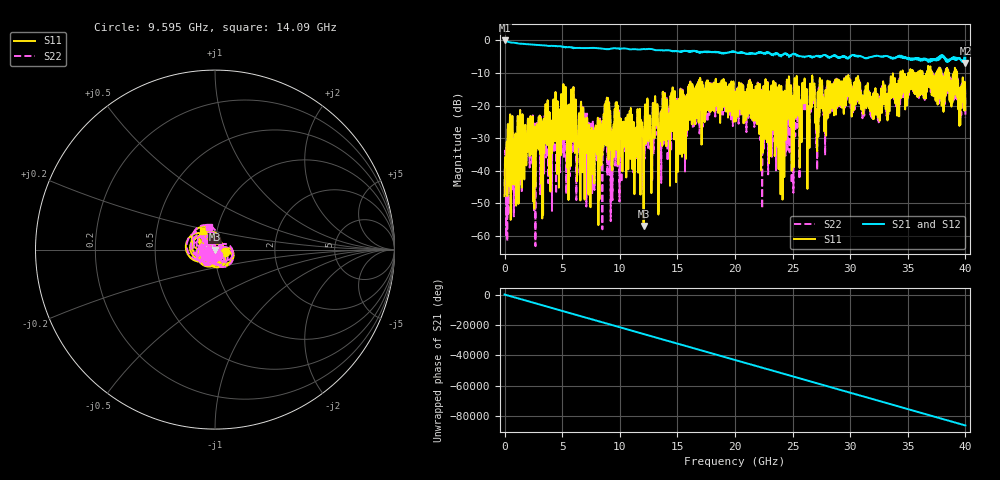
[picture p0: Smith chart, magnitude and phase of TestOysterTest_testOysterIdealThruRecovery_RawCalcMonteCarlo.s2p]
# MHz MA S R 50.0
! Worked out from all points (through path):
!   8000 points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, 5 MHz to 40 GHz, reference 50 ohm
!   highest |S21| = 0.01 dB at 5 MHz (marker M1); lowest = -6.9 dB at 40 GHz (marker M2)
!   group delay of S21, straight-line fit = 5.99 ns
!   lowest |S11| = -56.9 dB at 12.07 GHz (marker M3), VSWR 1.00, Z = 50.1 - j0.0321 ohm
!   |S11| at or under -10 dB: start of sweep to 34.37 GHz; 34.57 GHz to 35.05 GHz (488.2 MHz wide, 1.4 % of centre); 39.28 GHz to end of sweep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
!   |S22| runs from -63.1 to -7.9 dB; largest |S21 - S12| = 0.0035
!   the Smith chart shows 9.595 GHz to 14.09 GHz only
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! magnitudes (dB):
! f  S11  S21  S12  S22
! 5 MHz  -47.8  0.0  0.0  -44.7
! 490 MHz  -22.9  -0.6  -0.6  -22.9
! 3.99 GHz  -38.9  -1.6  -1.7  -30.1
! 5.115 GHz  -13.5  -2.1  -2.1  -13.8
! 5.545 GHz  -45.6  -2.0  -2.0  -32.4
! 5.965 GHz  -14.8  -2.3  -2.3  -14.8
! 6.4 GHz  -31.0  -2.3  -2.3  -32.1
! 6.675 GHz  -22.7  -2.3  -2.3  -24.5
! 7.245 GHz  -26.7  -2.3  -2.3  -33.3
! 8.89 GHz  -17.6  -2.7  -2.7  -17.9
! 12.07 GHz  -56.9  -2.6  -2.6  -40.9
! 13.34 GHz  -31.4  -3.0  -3.0  -50.9
! 16.12 GHz  -12.8  -3.5  -3.5  -12.6
! 20 GHz  -17.7  -3.5  -3.5  -18.5
! 24.25 GHz  -32.1  -4.0  -4.0  -24.8
! 24.68 GHz  -11.4  -4.9  -4.9  -11.9
! 26.67 GHz  -14.7  -5.1  -5.1  -14.9
! 27.13 GHz  -34.0  -4.7  -4.7  -34.4
! 29.75 GHz  -11.2  -5.5  -5.5  -11.4
! 33.34 GHz  -15.5  -5.0  -5.0  -17.1
! 36.86 GHz  -8.3  -6.4  -6.4  -8.4
! 40 GHz  -21.3  -6.9  -6.9  -23.8
